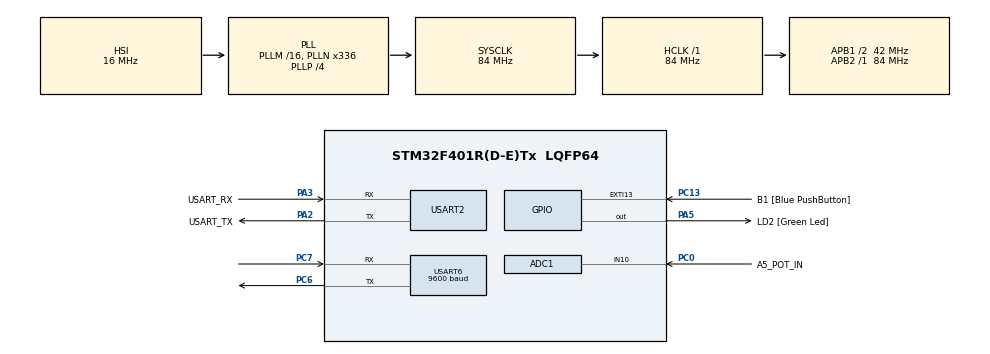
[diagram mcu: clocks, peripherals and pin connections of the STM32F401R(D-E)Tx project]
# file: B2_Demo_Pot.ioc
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ADC1.Channel-0\#ChannelRegularConversion=ADC_CHANNEL_10
ADC1.NbrOfConversionFlag=1
ADC1.Rank-0\#ChannelRegularConversion=1
ADC1.Resolution=ADC_RESOLUTION_8B
ADC1.SamplingTime-0\#ChannelRegularConversion=ADC_SAMPLETIME_15CYCLES
ADC1.ScanConvMode=ENABLE
ADC1.master=1
Mcu.Family=STM32F4
Mcu.Name=STM32F401R(D-E)Tx
Mcu.Package=LQFP64
NVIC.PriorityGroup=NVIC_PRIORITYGROUP_0
PA13.GPIO_Label=TMS
PA13.Mode=Serial_Wire
PA13.Signal=SYS_JTMS-SWDIO
PA14.GPIO_Label=TCK
PA14.Mode=Serial_Wire
PA14.Signal=SYS_JTCK-SWCLK
PA2.GPIO_Label=USART_TX
PA2.GPIO_Mode=GPIO_MODE_AF_PP
PA2.GPIO_PuPd=GPIO_NOPULL
PA2.GPIO_Speed=GPIO_SPEED_FREQ_LOW
PA2.Mode=Asynchronous
PA2.Signal=USART2_TX
PA3.GPIO_Label=USART_RX
PA3.GPIO_Mode=GPIO_MODE_AF_PP
PA3.GPIO_PuPd=GPIO_NOPULL
PA3.GPIO_Speed=GPIO_SPEED_FREQ_LOW
PA3.Mode=Asynchronous
PA3.Signal=USART2_RX
PA5.GPIO_Label=LD2 [Green Led]
PA5.GPIO_Mode=GPIO_MODE_OUTPUT_PP
PA5.GPIO_PuPd=GPIO_NOPULL
PA5.GPIO_Speed=GPIO_SPEED_FREQ_LOW
PA5.Signal=GPIO_Output
PB3.GPIO_Label=SWO
PB3.Signal=SYS_JTDO-SWO
PC0.GPIO_Label=A5_POT_IN
PC0.Signal=ADCx_IN10
PC13-ANTI_TAMP.GPIO_Label=B1 [Blue PushButton]
PC13-ANTI_TAMP.GPIO_ModeDefaultEXTI=GPIO_MODE_IT_FALLING
PC13-ANTI_TAMP.GPIO_PuPd=GPIO_NOPULL
PC13-ANTI_TAMP.Signal=GPXTI13
PC14-OSC32_IN.Mode=LSE-External-Oscillator
PC14-OSC32_IN.Signal=RCC_OSC32_IN
PC15-OSC32_OUT.Mode=LSE-External-Oscillator
PC15-OSC32_OUT.Signal=RCC_OSC32_OUT
PC6.Mode=Asynchronous
PC6.Signal=USART6_TX
PC7.Mode=Asynchronous
PC7.Signal=USART6_RX
PH0\ -\ OSC_IN.Mode=HSE-External-Clock-Source
PH0\ -\ OSC_IN.Signal=RCC_OSC_IN
PH1\ -\ OSC_OUT.Mode=HSE-External-Clock-Source
PH1\ -\ OSC_OUT.Signal=RCC_OSC_OUT
ProjectManager.HeapSize=0x200
ProjectManager.StackSize=0x400
ProjectManager.TargetToolchain=STM32CubeIDE
RCC.48MHZClocksFreq_Value=48000000
RCC.AHBFreq_Value=84000000
RCC.APB1CLKDivider=RCC_HCLK_DIV2
RCC.APB1Freq_Value=42000000
RCC.APB1TimFreq_Value=84000000
RCC.APB2Freq_Value=84000000
RCC.APB2TimFreq_Value=84000000
RCC.CortexFreq_Value=84000000
RCC.HCLKFreq_Value=84000000
RCC.HSE_VALUE=8000000
RCC.HSI_VALUE=16000000
RCC.PLLN=336
RCC.PLLP=RCC_PLLP_DIV4
RCC.PLLQ=7
RCC.SYSCLKFreq_VALUE=84000000
RCC.SYSCLKSource=RCC_SYSCLKSOURCE_PLLCLK
RCC.VCOOutputFreq_Value=336000000
SH.ADCx_IN10.0=ADC1_IN10,IN10
USART2.VirtualMode=VM_ASYNC
USART6.BaudRate=9600
USART6.Mode=MODE_TX
USART6.VirtualMode=VM_ASYNC
board=NUCLEO-F401RE

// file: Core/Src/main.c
/* USER CODE BEGIN Header */
/**
  ******************************************************************************
  * @file           : main.c
  * @brief          : Main program body
  ******************************************************************************
  * @attention
  *
  * Copyright (c) 2023 STMicroelectronics.
  * All rights reserved.
  *
  * This software is licensed under terms that can be found in the LICENSE file
  * in the root directory of this software component.
  * If no LICENSE file comes with this software, it is provided AS-IS.
  *
  ******************************************************************************
  */
/* USER CODE END Header */
#include "main.h"

/* USER CODE BEGIN Includes */
#include <string.h>
#include <stdio.h>
/* USER CODE END Includes */

ADC_HandleTypeDef hadc1;

UART_HandleTypeDef huart2;
UART_HandleTypeDef huart6;

void SystemClock_Config(void);
static void MX_GPIO_Init(void);
static void MX_USART2_UART_Init(void);
static void MX_ADC1_Init(void);
static void MX_USART6_UART_Init(void);
/* USER CODE BEGIN PFP */
static void ADC_Select_Ch(int CH);
/* USER CODE END PFP */

/* USER CODE BEGIN 0 */
void ADC_Select_CH(int CH) {
	ADC_ChannelConfTypeDef sConfig = {0};
	switch(CH) {
		case 0:
			sConfig.Channel = ADC_CHANNEL_0;
			sConfig.Rank = 1;
			if (HAL_ADC_ConfigChannel(&hadc1, &sConfig) != HAL_OK) {
				Error_Handler();
			}
			break;
		case 1:
			sConfig.Channel = ADC_CHANNEL_1;
			sConfig.Rank = 1;
			if (HAL_ADC_ConfigChannel(&hadc1, &sConfig) != HAL_OK) {
				Error_Handler();
			}
			break;
		case 2:
			sConfig.Channel = ADC_CHANNEL_2;
			sConfig.Rank = 1;
			if (HAL_ADC_ConfigChannel(&hadc1, &sConfig) != HAL_OK) {
				Error_Handler();
			}
			break;
		case 3:
			sConfig.Channel = ADC_CHANNEL_3;
			sConfig.Rank = 1;
			if (HAL_ADC_ConfigChannel(&hadc1, &sConfig) != HAL_OK) {
			Error_Handler();
			}
		break;
case 4:
sConfig.Channel = ADC_CHANNEL_4;
sConfig.Rank = 1;
if (HAL_ADC_ConfigChannel(&hadc1, &sConfig) != HAL_OK)
{
Error_Handler();
}
break;
case 5:
sConfig.Channel = ADC_CHANNEL_5;
sConfig.Rank = 1;
if (HAL_ADC_ConfigChannel(&hadc1, &sConfig) != HAL_OK)
{
Error_Handler();
}
break;
case 6:
sConfig.Channel = ADC_CHANNEL_6;
sConfig.Rank = 1;
if (HAL_ADC_ConfigChannel(&hadc1, &sConfig) != HAL_OK)
{
Error_Handler();
}
break;
case 7:
sConfig.Channel = ADC_CHANNEL_7;
sConfig.Rank = 1;
if (HAL_ADC_ConfigChannel(&hadc1, &sConfig) != HAL_OK)
{
Error_Handler();
}
break;
case 8:
sConfig.Channel = ADC_CHANNEL_8;
sConfig.Rank = 1;
if (HAL_ADC_ConfigChannel(&hadc1, &sConfig) != HAL_OK)
{
Error_Handler();
}
break;
case 9:
sConfig.Channel = ADC_CHANNEL_9;
sConfig.Rank = 1;
if (HAL_ADC_ConfigChannel(&hadc1, &sConfig) != HAL_OK)
{
Error_Handler();
}
break;
case 10:
sConfig.Channel = ADC_CHANNEL_10;
sConfig.Rank = 1;
if (HAL_ADC_ConfigChannel(&hadc1, &sConfig) != HAL_OK)
{
Error_Handler();
}
break;
case 11:
sConfig.Channel = ADC_CHANNEL_11;
sConfig.Rank = 1;
if (HAL_ADC_ConfigChannel(&hadc1, &sConfig) != HAL_OK)
{
Error_Handler();
}
break;
case 12:
sConfig.Channel = ADC_CHANNEL_12;
sConfig.Rank = 1;
if (HAL_ADC_ConfigChannel(&hadc1, &sConfig) != HAL_OK)
{
Error_Handler();
}
break;
case 13:
sConfig.Channel = ADC_CHANNEL_13;
sConfig.Rank = 1;
if (HAL_ADC_ConfigChannel(&hadc1, &sConfig) != HAL_OK)
{
Error_Handler();
}
break;
case 14:
sConfig.Channel = ADC_CHANNEL_14;
sConfig.Rank = 1;
if (HAL_ADC_ConfigChannel(&hadc1, &sConfig) != HAL_OK)
{
Error_Handler();
}
break;
case 15:
sConfig.Channel = ADC_CHANNEL_15;
sConfig.Rank = 1;
if (HAL_ADC_ConfigChannel(&hadc1, &sConfig) != HAL_OK)
{
Error_Handler();
}
break;
}
}
/* USER CODE END 0 */

int main(void)
{
  /* USER CODE BEGIN 1 */
  uint8_t txd_msg_buffer[64] = {0};
  sprintf((char*)txd_msg_buffer, "ADC_IN_10 VALUE(A5): UKN\r\n");
  /* USER CODE END 1 */

  /* MCU Configuration--------------------------------------------------------*/

  /* Reset of all peripherals, Initializes the Flash interface and the Systick. */
  HAL_Init();

  /* Configure the system clock */
  SystemClock_Config();

  /* Initialize all configured peripherals */
  MX_GPIO_Init();
  MX_USART2_UART_Init();
  MX_ADC1_Init();
  MX_USART6_UART_Init();

  /* Infinite loop */
  /* USER CODE BEGIN WHILE */
  while (1)
  {
	ADC_Select_CH(10);
	HAL_ADC_Start(&hadc1);
	HAL_ADC_PollForConversion(&hadc1, 1000);
	uint8_t ADC_CH9 = HAL_ADC_GetValue(&hadc1);
	HAL_ADC_Stop(&hadc1);
    sprintf((char*)txd_msg_buffer, "ADC_IN_10 VALUE(A5): %d\r\n", ADC_CH9);

    HAL_UART_Transmit(&huart6, txd_msg_buffer, strlen((char*)txd_msg_buffer), 1000);
    HAL_Delay(1000);
    /* USER CODE END WHILE */

  }
}

void SystemClock_Config(void)
{
  RCC_OscInitTypeDef RCC_OscInitStruct = {0};
  RCC_ClkInitTypeDef RCC_ClkInitStruct = {0};

  /** Configure the main internal regulator output voltage
  */
  __HAL_RCC_PWR_CLK_ENABLE();
  __HAL_PWR_VOLTAGESCALING_CONFIG(PWR_REGULATOR_VOLTAGE_SCALE2);

  /** Initializes the RCC Oscillators according to the specified parameters
  * in the RCC_OscInitTypeDef structure.
  */
  RCC_OscInitStruct.OscillatorType = RCC_OSCILLATORTYPE_HSI;
  RCC_OscInitStruct.HSIState = RCC_HSI_ON;
  RCC_OscInitStruct.HSICalibrationValue = RCC_HSICALIBRATION_DEFAULT;
  RCC_OscInitStruct.PLL.PLLState = RCC_PLL_ON;
  RCC_OscInitStruct.PLL.PLLSource = RCC_PLLSOURCE_HSI;
  RCC_OscInitStruct.PLL.PLLM = 16;
  RCC_OscInitStruct.PLL.PLLN = 336;
  RCC_OscInitStruct.PLL.PLLP = RCC_PLLP_DIV4;
  RCC_OscInitStruct.PLL.PLLQ = 7;
  if (HAL_RCC_OscConfig(&RCC_OscInitStruct) != HAL_OK)
  {
    Error_Handler();
  }

  /** Initializes the CPU, AHB and APB buses clocks
  */
  RCC_ClkInitStruct.ClockType = RCC_CLOCKTYPE_HCLK|RCC_CLOCKTYPE_SYSCLK
                              |RCC_CLOCKTYPE_PCLK1|RCC_CLOCKTYPE_PCLK2;
  RCC_ClkInitStruct.SYSCLKSource = RCC_SYSCLKSOURCE_PLLCLK;
  RCC_ClkInitStruct.AHBCLKDivider = RCC_SYSCLK_DIV1;
  RCC_ClkInitStruct.APB1CLKDivider = RCC_HCLK_DIV2;
  RCC_ClkInitStruct.APB2CLKDivider = RCC_HCLK_DIV1;

  if (HAL_RCC_ClockConfig(&RCC_ClkInitStruct, FLASH_LATENCY_2) != HAL_OK)
  {
    Error_Handler();
  }
}

static void MX_ADC1_Init(void)
{

  ADC_ChannelConfTypeDef sConfig = {0};

  /** Configure the global features of the ADC (Clock, Resolution, Data Alignment and number of conversion)
  */
  hadc1.Instance = ADC1;
  hadc1.Init.ClockPrescaler = ADC_CLOCK_SYNC_PCLK_DIV4;
  hadc1.Init.Resolution = ADC_RESOLUTION_8B;
  hadc1.Init.ScanConvMode = ENABLE;
  hadc1.Init.ContinuousConvMode = DISABLE;
  hadc1.Init.DiscontinuousConvMode = DISABLE;
  hadc1.Init.ExternalTrigConvEdge = ADC_EXTERNALTRIGCONVEDGE_NONE;
  hadc1.Init.ExternalTrigConv = ADC_SOFTWARE_START;
  hadc1.Init.DataAlign = ADC_DATAALIGN_RIGHT;
  hadc1.Init.NbrOfConversion = 1;
  hadc1.Init.DMAContinuousRequests = DISABLE;
  hadc1.Init.EOCSelection = ADC_EOC_SINGLE_CONV;
  if (HAL_ADC_Init(&hadc1) != HAL_OK)
  {
    Error_Handler();
  }

  /** Configure for the selected ADC regular channel its corresponding rank in the sequencer and its sample time.
  */
  sConfig.Channel = ADC_CHANNEL_10;
  sConfig.Rank = 1;
  sConfig.SamplingTime = ADC_SAMPLETIME_15CYCLES;
  if (HAL_ADC_ConfigChannel(&hadc1, &sConfig) != HAL_OK)
  {
    Error_Handler();
  }

}

static void MX_USART2_UART_Init(void)
{

  huart2.Instance = USART2;
  huart2.Init.BaudRate = 115200;
  huart2.Init.WordLength = UART_WORDLENGTH_8B;
  huart2.Init.StopBits = UART_STOPBITS_1;
  huart2.Init.Parity = UART_PARITY_NONE;
  huart2.Init.Mode = UART_MODE_TX_RX;
  huart2.Init.HwFlowCtl = UART_HWCONTROL_NONE;
  huart2.Init.OverSampling = UART_OVERSAMPLING_16;
  if (HAL_UART_Init(&huart2) != HAL_OK)
  {
    Error_Handler();
  }

}

static void MX_USART6_UART_Init(void)
{

  huart6.Instance = USART6;
  huart6.Init.BaudRate = 9600;
  huart6.Init.WordLength = UART_WORDLENGTH_8B;
  huart6.Init.StopBits = UART_STOPBITS_1;
  huart6.Init.Parity = UART_PARITY_NONE;
  huart6.Init.Mode = UART_MODE_TX;
  huart6.Init.HwFlowCtl = UART_HWCONTROL_NONE;
  huart6.Init.OverSampling = UART_OVERSAMPLING_16;
  if (HAL_UART_Init(&huart6) != HAL_OK)
  {
    Error_Handler();
  }

}

static void MX_GPIO_Init(void)
{
  GPIO_InitTypeDef GPIO_InitStruct = {0};

  /* GPIO Ports Clock Enable */
  __HAL_RCC_GPIOC_CLK_ENABLE();
  __HAL_RCC_GPIOH_CLK_ENABLE();
  __HAL_RCC_GPIOA_CLK_ENABLE();
  __HAL_RCC_GPIOB_CLK_ENABLE();

  /*Configure GPIO pin Output Level */
  HAL_GPIO_WritePin(LD2_GPIO_Port, LD2_Pin, GPIO_PIN_RESET);

  /*Configure GPIO pin : B1_Pin */
  GPIO_InitStruct.Pin = B1_Pin;
  GPIO_InitStruct.Mode = GPIO_MODE_IT_FALLING;
  GPIO_InitStruct.Pull = GPIO_NOPULL;
  HAL_GPIO_Init(B1_GPIO_Port, &GPIO_InitStruct);

  /*Configure GPIO pin : LD2_Pin */
  GPIO_InitStruct.Pin = LD2_Pin;
  GPIO_InitStruct.Mode = GPIO_MODE_OUTPUT_PP;
  GPIO_InitStruct.Pull = GPIO_NOPULL;
  GPIO_InitStruct.Speed = GPIO_SPEED_FREQ_LOW;
  HAL_GPIO_Init(LD2_GPIO_Port, &GPIO_InitStruct);

}

void Error_Handler(void)
{
  __disable_irq();
  while (1)
  {
  }
}
